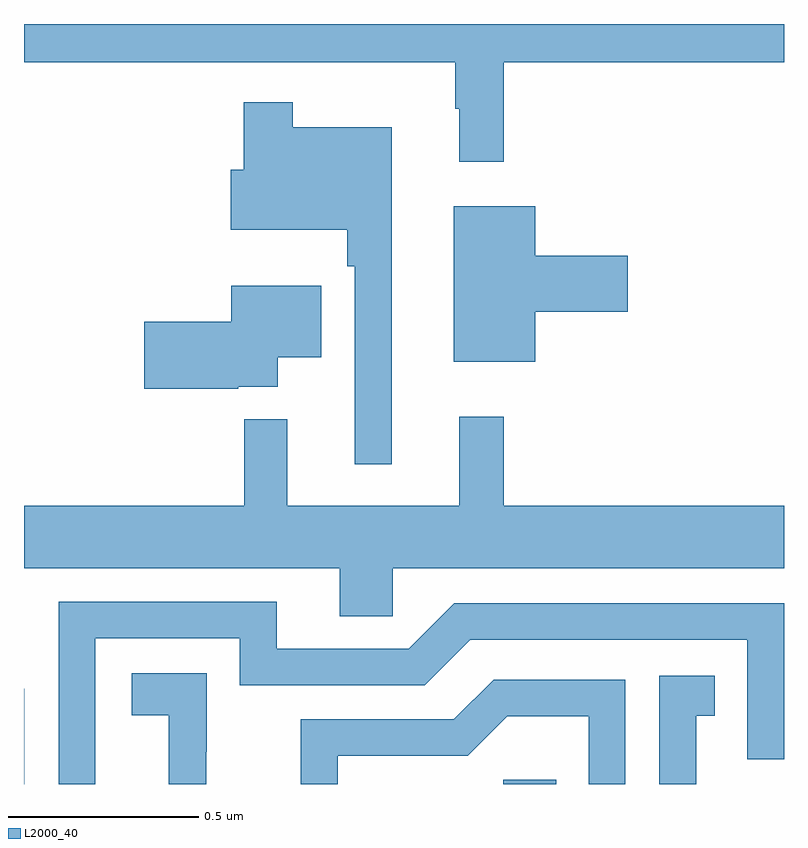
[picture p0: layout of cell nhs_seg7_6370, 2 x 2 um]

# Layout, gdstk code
import gdstk
lib = gdstk.Library(unit=1e-6, precision=1e-09)
def R(c, l, rs):  # rectangles x0, y0, x1, y1
    for r in rs: c.add(gdstk.rectangle(r[:2], r[2:], *l))
def P(c, l, *ps):  # polygons
    for p in ps: c.add(gdstk.Polygon(p, *l))
L2000_40 = (2000, 40)

nhs_seg7_6370 = lib.new_cell('nhs_seg7_6370')
R(nhs_seg7_6370, L2000_40, [(197,1048,197.001,1048.251), (198.261,1048,198.401,1048.011)])
P(nhs_seg7_6370, L2000_40, [(198.263,1049.9),(199,1049.9),(199,1050),(197,1050),(197,1049.9),(198.135,1049.9),(198.135,1049.777),(198.146,1049.777),(198.146,1049.637),(198.263,1049.637)],
  [(197.968,1049.728),(197.707,1049.728),(197.707,1049.794),(197.578,1049.794),(197.578,1049.617),(197.544,1049.617),(197.544,1049.459),(197.851,1049.459),(197.851,1049.363),(197.871,1049.363),(197.871,1048.842),(197.968,1048.842)],
  [(198.346,1049.243),(198.589,1049.243),(198.589,1049.39),(198.346,1049.39),(198.346,1049.521),(198.131,1049.521),(198.131,1049.111),(198.346,1049.111)],
  [(197.564,1049.045),(197.668,1049.045),(197.668,1049.123),(197.782,1049.123),(197.782,1049.311),(197.546,1049.311),(197.546,1049.216),(197.316,1049.216),(197.316,1049.04),(197.564,1049.04)],
  [(197.97,1048.568),(199,1048.568),(199,1048.732),(198.263,1048.732),(198.263,1048.966),(198.146,1048.966),(198.146,1048.732),(197.693,1048.732),(197.693,1048.96),(197.579,1048.96),(197.579,1048.732),(197,1048.732),(197,1048.568),(197.831,1048.568),(197.831,1048.441),(197.97,1048.441)],
  [(197.187,1048.383),(197.568,1048.383),(197.568,1048.26),(198.054,1048.26),(198.174,1048.38),(198.903,1048.38),(198.903,1048.065),(199,1048.065),(199,1048.476),(198.132,1048.476),(198.012,1048.356),(197.665,1048.356),(197.665,1048.479),(197.091,1048.479),(197.091,1048),(197.187,1048)],
  [(197.48,1048.085),(197.481,1048.085),(197.481,1048.291),(197.283,1048.291),(197.283,1048.181),(197.381,1048.181),(197.381,1048),(197.48,1048)],
  [(198.769,1048.179),(198.818,1048.179),(198.818,1048.285),(198.672,1048.285),(198.672,1048),(198.769,1048)],
  [(197.826,1048.074),(198.168,1048.074),(198.272,1048.178),(198.486,1048.178),(198.486,1048),(198.582,1048),(198.582,1048.275),(198.236,1048.275),(198.131,1048.17),(197.728,1048.17),(197.728,1048),(197.826,1048)])

lib.write_gds('nhs_seg7_6370.gds')
